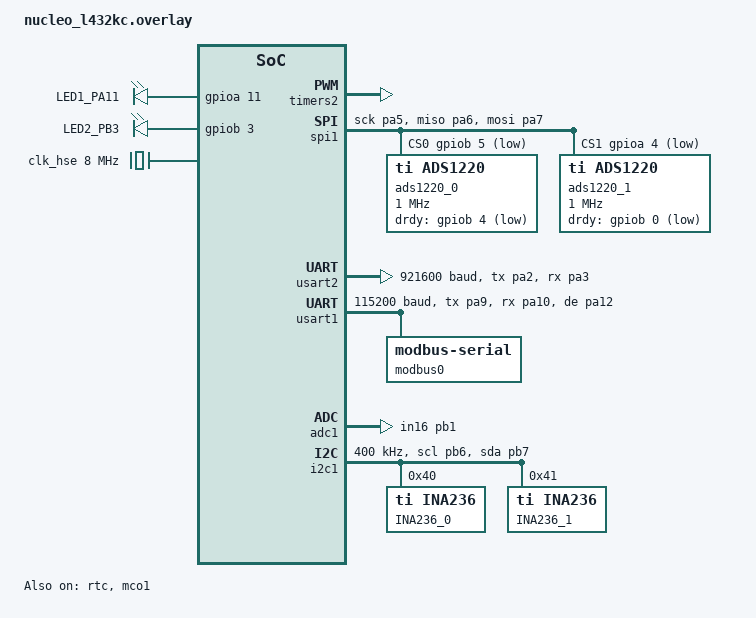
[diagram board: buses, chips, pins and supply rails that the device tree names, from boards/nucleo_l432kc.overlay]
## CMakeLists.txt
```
cmake_minimum_required(VERSION 3.13.1)
find_package(Zephyr REQUIRED HINTS $ENV{ZEPHYR_BASE})

project(pcb LANGUAGES C)

target_sources(app PRIVATE
  src/app_state.c
  src/board.c
  src/control.c
  src/main.c
  src/modbus_server.c
  src/sensors.c
  src/telemetry.c
)

# The code below locates the git index file for this repository and adds it as a dependency for
# the application VERSION file so that if the repo has a new commit added, even if no files in
# the build have changed, the application version file will be regenerated with the new git commit
find_package(Git QUIET)
if(GIT_FOUND)
  execute_process(
    COMMAND ${GIT_EXECUTABLE} rev-parse --absolute-git-dir
    WORKING_DIRECTORY .
    OUTPUT_VARIABLE application_git_dir
    OUTPUT_STRIP_TRAILING_WHITESPACE
    ERROR_STRIP_TRAILING_WHITESPACE
    ERROR_VARIABLE stderr
    RESULT_VARIABLE return_code
  )
  # If there is an error e.g. it is not a git repo, we just silently ignore it and continue
  # without a dependency, this will be the case with freestanding applications.
  if(NOT return_code)
    if(NOT "${stderr}" STREQUAL "")
      message(WARNING "Application build version git rev-parse warned: ${stderr}")
    endif()

    set_property(TARGET app_version_h PROPERTY APP_VERSION_DEPENDS ${application_git_dir}/index)
  endif()
endif()
```

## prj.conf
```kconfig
# Copyright (c) 2021 Nordic Semiconductor ASA
# SPDX-License-Identifier: Apache-2.0

# Core I/O used by src/main.c
CONFIG_GPIO=y
CONFIG_ADC=y
CONFIG_SPI=y
CONFIG_I2C=y
CONFIG_PWM=y
CONFIG_SENSOR=y

# Concrete drivers used by the board overlay
CONFIG_ADC_STM32=y
CONFIG_ADC_ADS1220=y
CONFIG_PWM_STM32=y
CONFIG_INA236=y

# UART is used directly for telemetry, and Modbus owns the RS-485 UART.
CONFIG_SERIAL=y
CONFIG_UART_STM32=y
CONFIG_UART_INTERRUPT_DRIVEN=y
CONFIG_UART_CONSOLE=n
CONFIG_STDOUT_CONSOLE=n
CONFIG_PRINTK=y

# Modbus RTU server on USART1/RS-485.
CONFIG_MODBUS=y
CONFIG_MODBUS_ROLE_SERVER=y

# Float formatting is used by snprintf() telemetry.
CONFIG_NEWLIB_LIBC=y
CONFIG_NEWLIB_LIBC_FLOAT_PRINTF=y

# Application thread stacks
CONFIG_MAIN_STACK_SIZE=4096
CONFIG_ISR_STACK_SIZE=2048
CONFIG_SYSTEM_WORKQUEUE_STACK_SIZE=2048
```

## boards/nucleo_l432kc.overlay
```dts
#include <zephyr/dt-bindings/gpio/gpio.h>
#include <zephyr/dt-bindings/adc/adc.h>
#include <zephyr/dt-bindings/sensor/ina230.h>

/ {
    leds {
        compatible = "gpio-leds";

        led1: led_1 {
            gpios = <&gpioa 11 GPIO_ACTIVE_HIGH>;
            label = "LED1_PA11";
        };

        led2: led_2 {
            gpios = <&gpiob 3 GPIO_ACTIVE_HIGH>;
            label = "LED2_PB3";
        };
    };
};

&timers2 {
    status = "okay";

    pwm2: pwm {
        status = "okay";
        //pinctrl-0 = <&tim2_ch2_pa1 &tim2_ch4_pa3>;
        pinctrl-0 = <&tim2_ch2_pa1 &tim2_ch1_pa15>;
        pinctrl-names = "default";
    };
};

&spi1 {
    status = "okay";

    /* Naudojam default board pinctrl */
    pinctrl-0 = </*&spi1_nss_pa4*/ &spi1_sck_pa5
                 &spi1_miso_pa6 &spi1_mosi_pa7>;
    pinctrl-names = "default";

    /* CS per PA4 */
    cs-gpios = <
        &gpiob 5 GPIO_ACTIVE_LOW /*PT1000*/
        &gpioa 4 GPIO_ACTIVE_LOW /*LM35*/
    >;

    /*ADS1220 PT1000*/
    ads1220_0: ads1220@0 {
        compatible = "ti,ads1220";
        reg = <0>;
        spi-max-frequency = <1000000>;

        /* Atskiras DRDY pinas */
        drdy-gpios = <&gpiob 4 GPIO_ACTIVE_LOW>;
        // pga-bypass;
        data-rate = <0>;
        operating-mode = <0>;

        idac-magnitude-microamp = <250>;
        idac1-routing = <4>;        /* AIN3 */
        idac2-routing = <0>;        /* Disabled */

        #io-channel-cells = <1>;
        #address-cells = <1>;
        #size-cells = <0>;

        channel@0 {
            reg = <0>;

            zephyr,differential;
            zephyr,input-positive = <0>;   /* AIN0 */
            zephyr,input-negative = <1>;   /* AIN1 */

            zephyr,gain = "ADC_GAIN_4";
            zephyr,reference = "ADC_REF_EXTERNAL0";
            zephyr,acquisition-time = <ADC_ACQ_TIME_DEFAULT>;
        };
    };

    /*ADS1220 LM35*/
    ads1220_1: ads1220@1 {
        compatible = "ti,ads1220";
        reg = <1>;
        spi-max-frequency = <1000000>;
        data-rate = <0>;
        /* Atskiras DRDY pinas */
        drdy-gpios = <&gpiob 0 GPIO_ACTIVE_LOW>;
        pga-bypass;

        #io-channel-cells = <1>;
        #address-cells = <1>;
        #size-cells = <0>;

        channel@0 {
            reg = <0>;
            zephyr,gain = "ADC_GAIN_4";
            zephyr,reference = "ADC_REF_INTERNAL";
            zephyr,acquisition-time = <ADC_ACQ_TIME_DEFAULT>;
        };
    };

};

&usart2 {
    current-speed = <921600>;
    pinctrl-0 = <&usart2_tx_pa2 &usart2_rx_pa3>;
};

&usart1 {
    status = "okay";
    current-speed = <115200>;

    pinctrl-0 = <
        &usart1_tx_pa9
        &usart1_rx_pa10
        &usart1_de_pa12
    >;

    de-enable;
    de-assert-time = <1>;
    de-deassert-time = <1>;

    pinctrl-names = "default";

    modbus0 {
        compatible = "zephyr,modbus-serial";
        status = "okay";
    };
};

&adc1 {
    status = "okay";
    st,adc-clock-source = "SYNC";
    st,adc-prescaler = <4>;
    pinctrl-0 = <&adc1_in16_pb1>;
    pinctrl-names = "default";
};

&i2c1 {
    pinctrl-0 = <&i2c1_scl_pb6 &i2c1_sda_pb7>;
    pinctrl-names = "default";
    clock-frequency = <I2C_BITRATE_FAST>;
    status = "okay";

    ina236_0: ina236@40 {
        compatible = "ti,ina236";
        reg = <0x40>;
        label = "INA236_0";

        rshunt-micro-ohms = <15000>;
        current-lsb-microamps = <30>;
        high-precision;
        vshunt-conversion-time-us = <4156>;
        vbus-conversion-time-us = <4156>;
        avg-count = <16>;
    };

    ina236_1: ina236@41 {
        compatible = "ti,ina236";
        reg = <0x41>;
        label = "INA236_1";

        rshunt-micro-ohms = <15000>;
        current-lsb-microamps = <30>;
        high-precision;
        vshunt-conversion-time-us = <4156>;
        vbus-conversion-time-us = <4156>;
        avg-count = <16>;
    };
};




/* NUCLEO-L432KC HSE is provided by ST-LINK MCO as an 8 MHz external clock. */
&clk_hse {
    clock-frequency = <DT_FREQ_M(8)>;
    hse-bypass;
    status = "okay";
};

/* Use the external 32.768 kHz LSE crystal for RTC. */
&clk_lse {
    status = "okay";
    driving-capability = <0>;
};

&clk_hsi {
    status = "disabled";
};

&clk_lsi {
    status = "disabled";
};

&pll {
    div-m = <1>;
    mul-n = <20>;
    div-p = <7>;
    div-q = <2>;
    div-r = <2>;
    clocks = <&clk_hse>;
    status = "okay";
};

&rcc {
    clocks = <&pll>;
    clock-frequency = <DT_FREQ_M(80)>;
    ahb-prescaler = <1>;
    apb1-prescaler = <1>;
    apb2-prescaler = <1>;
};

&rtc {
    clocks = <&rcc STM32_CLOCK(APB1, 28)>,
             <&rcc STM32_SRC_LSE RTC_SEL(1)>;
    status = "okay";
};

&mco1 {
    clocks = <&rcc STM32_SRC_LSE MCO1_SEL(7)>;
    prescaler = <MCO1_PRE(MCO_PRE_DIV_1)>;
    pinctrl-0 = <&rcc_mco_pa8>;
    pinctrl-names = "default";
    status = "okay";
};
```

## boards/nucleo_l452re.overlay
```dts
#include <zephyr/dt-bindings/gpio/gpio.h>
#include <zephyr/dt-bindings/adc/adc.h>

&spi1 {
    status = "okay";
    pinctrl-0 = <&spi1_sck_pa5 &spi1_miso_pa6 &spi1_mosi_pa7>;
    pinctrl-names = "default";

    /* CS ant PC8 */
    cs-gpios = <&gpioc 8 GPIO_ACTIVE_LOW>;

    ads1220: ads1220@0 {
        compatible = "ti,ads1220";
        reg = <0>;
        spi-max-frequency = <1000000>;

        /* Tik jei turi ATSKIRĄ DRDY piną (ne tą patį kaip DOUT) */
        drdy-gpios = <&gpioc 9 GPIO_ACTIVE_LOW>;

        #io-channel-cells = <1>;
        #address-cells = <1>;
        #size-cells = <0>;

        channel@0 {
            reg = <0>;
            zephyr,gain = "ADC_GAIN_1";
            zephyr,reference = "ADC_REF_INTERNAL";
            zephyr,acquisition-time = <ADC_ACQ_TIME_DEFAULT>;
        };
    };
};
```

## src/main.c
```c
#include "app.h"

#include <zephyr/kernel.h>
#include <zephyr/sys/printk.h>

#include <stdio.h>

int main(void)
{
    int modbus_err;

    printk("SYSTEM START\n");

    if (!app_board_init()) {
        return 0;
    }

    k_sleep(K_SECONDS(2));
    app_report_lse_status();

    modbus_err = app_modbus_server_init();
    if (modbus_err != 0) {
        char buf[64];

        snprintf(buf, sizeof(buf), "Modbus RTU init failed: %d\r\n", modbus_err);
        app_serial_send(buf);
        printk("%s", buf);
        return 0;
    }

    app_serial_send("Modbus RTU server ready\r\n");
    app_control_start();
    app_telemetry_start();

    k_sleep(K_FOREVER);
    return 0;
}
```

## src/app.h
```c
#pragma once

#include <zephyr/device.h>
#include <zephyr/devicetree.h>
#include <zephyr/drivers/adc.h>

#include <stdbool.h>
#include <stdint.h>

/* Devicetree nodes */
#define UART_RS485_NODE  DT_NODELABEL(usart1)
#define UART_SERIAL_NODE DT_NODELABEL(usart2)
#define LED1_NODE        DT_NODELABEL(led1)
#define PWM_NODE         DT_NODELABEL(pwm2)
#define MODBUS_NODE      DT_COMPAT_GET_ANY_STATUS_OKAY(zephyr_modbus_serial)

/* Measurement constants */
#define ADS1220_FULL_SCALE 8388607.0f
#define ADS1220_VREF_V     2.048f
#define ADS1220_PT_GAIN    4.0f
#define ADS1220_LM35_GAIN  4.0f
#define RREF_OHM           4990.0f
#define PT1000_R0          1000.0f
#define PT_A               3.9083e-3f
#define PT_B              -5.775e-7f
#define LM35_MV_PER_C      10.0f

#define PT1000_OFFSET_C 0.0f
#define LM35_OFFSET_C   0.0f

/* Control and telemetry */
#define PWM_PERIOD_NS      1000000U
#define PWM_CHANNEL_PT1000 1U
#define PWM_CHANNEL_LM35   2U
#define PWM_MAX_PERCENT    100.0f

#define CONTROL_PERIOD_MS      200
#define TELEMETRY_PERIOD_MS    200
#define LED1_BLINK_MS         1000
#define MIN_CONTROL_DT_S      0.05f
#define MAX_CONTROL_DT_S      1.0f
#define INTEGRAL_ENABLE_ERROR 5.0f
#define LID_CLOSED_THRESHOLD_MV 2200

/* Modbus RTU */
#define MODBUS_UNIT_ID 1
#define MODBUS_BAUD    115200

#define CONTROL_STACK_SIZE   3072
#define TELEMETRY_STACK_SIZE 3072
#define CONTROL_PRIORITY     4
#define TELEMETRY_PRIORITY   7

struct pi_controller {
    float kp;
    float ki;
    float integral;
};

struct temperatures {
    int16_t stm32_raw;
    int32_t pt_raw;
    int32_t lm_raw;
    float stm32_v;
    float pt_c;
    float lm_c;
};

struct power_sample {
    bool ok;
    int32_t voltage_mv;
    int32_t current_ua;
    int32_t power_uw;
};

struct status {
    uint32_t seq;
    int64_t time_ms;
    float dt_s;
    float target_pt;
    float target_lm;
    float pwm_pt;
    float pwm_lm;
    struct temperatures temp;
    struct power_sample power[2];
};

extern const struct device *const app_uart_rs485;
extern const struct device *const app_uart_serial;
extern const struct device *const app_adc_pt1000;
extern const struct device *const app_adc_lm35;
extern const struct device *const app_adc_stm32;
extern const struct device *const app_pwm_dev;
extern const struct device *const app_ina236_0;
extern const struct device *const app_ina236_1;

bool app_board_init(void);
void app_led1_set(bool on);
void app_pwm_set(float pt_percent, float lm_percent);
void app_report_lse_status(void);
bool app_lse_ready(void);
void app_serial_send(const char *str);

struct status app_status_get(void);
void app_status_save_control(const struct status *status);
void app_status_save_power(const struct power_sample power[2]);
void app_targets_get(float *pt, float *lm);
void app_targets_set(float pt, float lm);

void app_read_temperatures(struct temperatures *t, struct adc_sequence *stm32_seq);
struct power_sample app_read_power_sample(const struct device *dev);

int app_modbus_server_init(void);
void app_control_start(void);
void app_telemetry_start(void);
```

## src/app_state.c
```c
#include "app.h"

#include <zephyr/kernel.h>
#include <zephyr/spinlock.h>

static struct status last_status;
static float target_pt = 25.2f;
static float target_lm = 25.0f;
static struct k_spinlock target_lock;

K_MUTEX_DEFINE(status_mutex);

struct status app_status_get(void)
{
    struct status status;

    k_mutex_lock(&status_mutex, K_FOREVER);
    status = last_status;
    k_mutex_unlock(&status_mutex);

    return status;
}

void app_status_save_control(const struct status *status)
{
    struct power_sample power[2];

    k_mutex_lock(&status_mutex, K_FOREVER);
    power[0] = last_status.power[0];
    power[1] = last_status.power[1];
    last_status = *status;
    last_status.power[0] = power[0];
    last_status.power[1] = power[1];
    k_mutex_unlock(&status_mutex);
}

void app_status_save_power(const struct power_sample power[2])
{
    k_mutex_lock(&status_mutex, K_FOREVER);
    last_status.power[0] = power[0];
    last_status.power[1] = power[1];
    k_mutex_unlock(&status_mutex);
}

void app_targets_get(float *pt, float *lm)
{
    k_spinlock_key_t key = k_spin_lock(&target_lock);

    *pt = target_pt;
    *lm = target_lm;

    k_spin_unlock(&target_lock, key);
}

void app_targets_set(float pt, float lm)
{
    k_spinlock_key_t key = k_spin_lock(&target_lock);

    target_pt = pt;
    target_lm = lm;

    k_spin_unlock(&target_lock, key);
}
```

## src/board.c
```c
#include "app.h"

#include <zephyr/devicetree.h>
#include <zephyr/drivers/gpio.h>
#include <zephyr/drivers/pwm.h>
#include <zephyr/drivers/uart.h>
#include <zephyr/sys/printk.h>

#include <stm32_ll_rcc.h>

#include <stdio.h>

const struct device *const app_uart_rs485 = DEVICE_DT_GET(UART_RS485_NODE);
const struct device *const app_uart_serial = DEVICE_DT_GET(UART_SERIAL_NODE);
const struct device *const app_adc_pt1000 = DEVICE_DT_GET(DT_NODELABEL(ads1220_0));
const struct device *const app_adc_lm35 = DEVICE_DT_GET(DT_NODELABEL(ads1220_1));
const struct device *const app_adc_stm32 = DEVICE_DT_GET(DT_NODELABEL(adc1));
const struct device *const app_pwm_dev = DEVICE_DT_GET(PWM_NODE);
const struct device *const app_ina236_0 = DEVICE_DT_GET(DT_NODELABEL(ina236_0));
const struct device *const app_ina236_1 = DEVICE_DT_GET(DT_NODELABEL(ina236_1));

static const struct gpio_dt_spec led1 = GPIO_DT_SPEC_GET(LED1_NODE, gpios);

bool app_board_init(void)
{
    if (!device_is_ready(app_uart_rs485) ||
        !device_is_ready(app_uart_serial) ||
        !device_is_ready(app_adc_pt1000) ||
        !device_is_ready(app_adc_lm35) ||
        !device_is_ready(app_adc_stm32) ||
        !device_is_ready(app_pwm_dev)) {
        printk("Required device not ready\n");
        return false;
    }

    if (!gpio_is_ready_dt(&led1)) {
        printk("LED GPIO not ready\n");
        return false;
    }

    gpio_pin_configure_dt(&led1, GPIO_OUTPUT_INACTIVE);

    if (!device_is_ready(app_ina236_0)) {
        printk("INA236_0 not ready, telemetry will show invalid power 0\n");
    }
    if (!device_is_ready(app_ina236_1)) {
        printk("INA236_1 not ready, telemetry will show invalid power 1\n");
    }

    return true;
}

void app_led1_set(bool on)
{
    gpio_pin_set_dt(&led1, on);
}

void app_pwm_set(float pt_percent, float lm_percent)
{
    uint32_t pt_pulse = (uint32_t)((PWM_PERIOD_NS * pt_percent) / 100.0f);
    uint32_t lm_pulse = (uint32_t)((PWM_PERIOD_NS * lm_percent) / 100.0f);

    pwm_set(app_pwm_dev, PWM_CHANNEL_PT1000, PWM_PERIOD_NS, pt_pulse, 0);
    pwm_set(app_pwm_dev, PWM_CHANNEL_LM35, PWM_PERIOD_NS, lm_pulse, 0);
}

void app_serial_send(const char *str)
{
    while (*str != '\0') {
        uart_poll_out(app_uart_serial, *str++);
    }
}

void app_report_lse_status(void)
{
#if defined(RCC_BDCR_LSEON) && defined(RCC_BDCR_LSERDY)
    char buf[96];
    uint32_t bdcr = RCC->BDCR;

    snprintf(buf, sizeof(buf), "BDCR=0x%08lx LSEON=%d LSERDY=%d\r\n",
             (unsigned long)bdcr,
             (bdcr & RCC_BDCR_LSEON) != 0U,
             (bdcr & RCC_BDCR_LSERDY) != 0U);
    app_serial_send(buf);
    printk("%s", buf);
#endif
}

bool app_lse_ready(void)
{
#if defined(RCC_BDCR_LSERDY)
    return (RCC->BDCR & RCC_BDCR_LSERDY) != 0U;
#else
    return false;
#endif
}
```

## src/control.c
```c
#include "app.h"

#include <zephyr/kernel.h>

#include <math.h>

static struct pi_controller pi_pt = {.kp = 300.0f, .ki = 50.0f};
static struct pi_controller pi_lm = {.kp = 60.0f, .ki = 5.0f};

K_TIMER_DEFINE(control_timer, NULL, NULL);
K_THREAD_STACK_DEFINE(control_stack, CONTROL_STACK_SIZE);

static struct k_thread control_thread_data;

static float clampf(float value, float min, float max)
{
    if (value < min) {
        return min;
    }
    if (value > max) {
        return max;
    }
    return value;
}

static float pi_update(struct pi_controller *pi, float target, float measured,
                       float dt_s)
{
    float error = target - measured;
    float output;
    float new_integral = pi->integral;

    if (fabsf(error) < INTEGRAL_ENABLE_ERROR) {
        new_integral += error * dt_s;
        if (pi->ki > 0.0f) {
            float limit = 100.0f / pi->ki;

            new_integral = clampf(new_integral, -limit, limit);
        }
    }

    output = clampf((pi->kp * error) + (pi->ki * new_integral), 0.0f,
                    PWM_MAX_PERCENT);

    if ((output > 0.0f && output < PWM_MAX_PERCENT) ||
        (output == PWM_MAX_PERCENT && error < 0.0f) ||
        (output == 0.0f && error > 0.0f)) {
        pi->integral = new_integral;
    }

    return output;
}

static float control_dt(int64_t now_ms, int64_t *last_ms)
{
    float dt_s = (float)CONTROL_PERIOD_MS / 1000.0f;

    if (*last_ms != 0) {
        dt_s = (float)(now_ms - *last_ms) / 1000.0f;
        dt_s = clampf(dt_s, MIN_CONTROL_DT_S, MAX_CONTROL_DT_S);
    }

    *last_ms = now_ms;
    return dt_s;
}

static void control_thread(void *arg1, void *arg2, void *arg3)
{
    ARG_UNUSED(arg1);
    ARG_UNUSED(arg2);
    ARG_UNUSED(arg3);

    static uint32_t seq;
    int64_t last_ms = 0;
    struct status s = {0};
    struct adc_sequence stm32_seq = {
        .channels = BIT(16),
        .buffer = &s.temp.stm32_raw,
        .buffer_size = sizeof(s.temp.stm32_raw),
        .resolution = 12,
    };

    while (true) {
        k_timer_status_sync(&control_timer);

        s.seq = seq++;
        s.time_ms = k_uptime_get();
        s.dt_s = control_dt(s.time_ms, &last_ms);
        app_targets_get(&s.target_pt, &s.target_lm);

        app_read_temperatures(&s.temp, &stm32_seq);
        s.pwm_pt = pi_update(&pi_pt, s.target_pt, s.temp.pt_c, s.dt_s);
        s.pwm_lm = pi_update(&pi_lm, s.target_lm, s.temp.lm_c, s.dt_s);

        app_pwm_set(s.pwm_pt, s.pwm_lm);
        app_status_save_control(&s);
    }
}

void app_control_start(void)
{
    k_timer_start(&control_timer, K_NO_WAIT, K_MSEC(CONTROL_PERIOD_MS));
    k_thread_create(&control_thread_data, control_stack,
                    K_THREAD_STACK_SIZEOF(control_stack), control_thread,
                    NULL, NULL, NULL, CONTROL_PRIORITY, 0, K_NO_WAIT);
}
```

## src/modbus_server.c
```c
#include "app.h"

#include <zephyr/drivers/uart.h>
#include <zephyr/modbus/modbus.h>
#include <zephyr/sys/printk.h>

#include <errno.h>

static uint16_t u32_reg(uint32_t value, uint16_t word)
{
    return (uint16_t)(value >> (word * 16U));
}

static uint16_t i32_reg(int32_t value, uint16_t word)
{
    return u32_reg((uint32_t)value, word);
}

static uint16_t f_to_s16_reg(float value, float scale)
{
    return (uint16_t)(int16_t)(value * scale);
}

static bool lid_closed_from_mv(int32_t mv)
{
    return mv >= LID_CLOSED_THRESHOLD_MV;
}

static int discrete_input_rd(uint16_t addr, bool *state)
{
    struct status s = app_status_get();
    int32_t lid_mv = (int32_t)(s.temp.stm32_v * 1000.0f);

    switch (addr) {
    case 0:
        *state = lid_closed_from_mv(lid_mv);
        return 0;
    case 1:
        *state = s.power[0].ok;
        return 0;
    case 2:
        *state = s.power[1].ok;
        return 0;
    case 3:
        *state = app_lse_ready();
        return 0;
    default:
        return -ENOTSUP;
    }
}

static int input_reg_rd(uint16_t addr, uint16_t *reg)
{
    struct status s = app_status_get();
    int32_t stm32_mv = (int32_t)(s.temp.stm32_v * 1000.0f);

    switch (addr) {
    case 0:
        *reg = 1U;
        return 0;
    case 1:
        *reg = u32_reg(s.seq, 0);
        return 0;
    case 2:
        *reg = u32_reg(s.seq, 1);
        return 0;
    case 3:
        *reg = u32_reg((uint32_t)s.time_ms, 0);
        return 0;
    case 4:
        *reg = u32_reg((uint32_t)s.time_ms, 1);
        return 0;
    case 10:
        *reg = f_to_s16_reg(s.temp.pt_c, 100.0f);
        return 0;
    case 11:
        *reg = f_to_s16_reg(s.temp.lm_c, 100.0f);
        return 0;
    case 12:
        *reg = (uint16_t)(int16_t)stm32_mv;
        return 0;
    case 13:
        *reg = i32_reg(s.temp.pt_raw, 0);
        return 0;
    case 14:
        *reg = i32_reg(s.temp.pt_raw, 1);
        return 0;
    case 15:
        *reg = i32_reg(s.temp.lm_raw, 0);
        return 0;
    case 16:
        *reg = i32_reg(s.temp.lm_raw, 1);
        return 0;
    case 20:
        *reg = f_to_s16_reg(s.pwm_pt, 10.0f);
        return 0;
    case 21:
        *reg = f_to_s16_reg(s.pwm_lm, 10.0f);
        return 0;
    case 22:
        *reg = f_to_s16_reg(s.target_pt, 100.0f);
        return 0;
    case 23:
        *reg = f_to_s16_reg(s.target_lm, 100.0f);
        return 0;
    case 30:
    case 31:
        *reg = i32_reg(s.power[0].voltage_mv, addr - 30);
        return 0;
    case 32:
    case 33:
        *reg = i32_reg(s.power[0].current_ua, addr - 32);
        return 0;
    case 34:
    case 35:
        *reg = i32_reg(s.power[0].power_uw, addr - 34);
        return 0;
    case 40:
    case 41:
        *reg = i32_reg(s.power[1].voltage_mv, addr - 40);
        return 0;
    case 42:
    case 43:
        *reg = i32_reg(s.power[1].current_ua, addr - 42);
        return 0;
    case 44:
    case 45:
        *reg = i32_reg(s.power[1].power_uw, addr - 44);
        return 0;
    default:
        return -ENOTSUP;
    }
}

static int holding_reg_rd(uint16_t addr, uint16_t *reg)
{
    float pt;
    float lm;

    app_targets_get(&pt, &lm);

    switch (addr) {
    case 0:
        *reg = f_to_s16_reg(pt, 100.0f);
        return 0;
    case 1:
        *reg = f_to_s16_reg(lm, 100.0f);
        return 0;
    default:
        return -ENOTSUP;
    }
}

static int holding_reg_wr(uint16_t addr, uint16_t reg)
{
    float pt;
    float lm;
    float value = (float)(int16_t)reg / 100.0f;

    app_targets_get(&pt, &lm);

    switch (addr) {
    case 0:
        app_targets_set(value, lm);
        return 0;
    case 1:
        app_targets_set(pt, value);
        return 0;
    default:
        return -ENOTSUP;
    }
}

static struct modbus_user_callbacks mbs_cbs = {
    .discrete_input_rd = discrete_input_rd,
    .input_reg_rd = input_reg_rd,
    .holding_reg_rd = holding_reg_rd,
    .holding_reg_wr = holding_reg_wr,
};

static const struct modbus_iface_param server_param = {
    .mode = MODBUS_MODE_RTU,
    .server = {
        .user_cb = &mbs_cbs,
        .unit_id = MODBUS_UNIT_ID,
    },
    .serial = {
        .baud = MODBUS_BAUD,
        .parity = UART_CFG_PARITY_NONE,
    },
};

int app_modbus_server_init(void)
{
    const char iface_name[] = DEVICE_DT_NAME(MODBUS_NODE);
    const struct uart_config rs485_cfg = {
        .baudrate = MODBUS_BAUD,
        .parity = UART_CFG_PARITY_NONE,
        .stop_bits = UART_CFG_STOP_BITS_2,
        .data_bits = UART_CFG_DATA_BITS_8,
        .flow_ctrl = UART_CFG_FLOW_CTRL_RS485,
    };
    int iface = modbus_iface_get_by_name(iface_name);
    int err;

    if (iface < 0) {
        printk("Failed to get Modbus iface %s: %d\n", iface_name, iface);
        return iface;
    }

    err = modbus_init_server(iface, server_param);
    if (err != 0) {
        return err;
    }

    /* Zephyr Modbus reconfigures UART flow control. Restore STM32 hardware DE
     * mode so PA12 drives the RS-485 transceiver direction automatically.
     */
    return uart_configure(app_uart_rs485, &rs485_cfg);
}
```

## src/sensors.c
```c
#include "app.h"

#include <zephyr/drivers/adc.h>
#include <zephyr/drivers/sensor.h>

#include <math.h>

int ads1220_trigger(const struct device *dev);
int ads1220_fetch(const struct device *dev, int32_t *value);

static float pt1000_compensate(float t)
{
    float err = (-0.00003f * t * t) + (-0.0041f * t) + 0.3738f;

    return t - err;
}

static float lm35_compensate(float t)
{
    float err = (0.0002f * t * t) - (0.0327f * t) + 0.124f;

    return t - err;
}

static float pt1000_temp_c(int32_t raw)
{
    float r_rtd = (fabsf((float)raw) * RREF_OHM / ADS1220_PT_GAIN) /
                  ADS1220_FULL_SCALE;
    float ratio = r_rtd / PT1000_R0;
    float d = PT_A * PT_A - 4.0f * PT_B * (1.0f - ratio);

    if (d < 0.0f) {
        d = 0.0f;
    }

    return ((-PT_A + sqrtf(d)) / (2.0f * PT_B)) - PT1000_OFFSET_C;
}

static float lm35_temp_c(int32_t raw)
{
    float vin = ((float)raw / ADS1220_FULL_SCALE) *
                (ADS1220_VREF_V / ADS1220_LM35_GAIN);

    return ((vin * 1000.0f) / LM35_MV_PER_C) - LM35_OFFSET_C;
}

void app_read_temperatures(struct temperatures *t, struct adc_sequence *stm32_seq)
{
    t->stm32_v = 0.0f;
    if (adc_read(app_adc_stm32, stm32_seq) == 0) {
        t->stm32_v = ((float)t->stm32_raw * 3.3f) / 4095.0f;
    }

    ads1220_trigger(app_adc_pt1000);
    ads1220_trigger(app_adc_lm35);
    ads1220_fetch(app_adc_pt1000, &t->pt_raw);
    ads1220_fetch(app_adc_lm35, &t->lm_raw);

    t->pt_c = pt1000_compensate(pt1000_temp_c(t->pt_raw));
    t->lm_c = lm35_compensate(lm35_temp_c(t->lm_raw));
}

static bool read_power(const struct device *dev, struct sensor_value *voltage,
                       struct sensor_value *current, struct sensor_value *power)
{
    return device_is_ready(dev) &&
           sensor_sample_fetch(dev) == 0 &&
           sensor_channel_get(dev, SENSOR_CHAN_VOLTAGE, voltage) == 0 &&
           sensor_channel_get(dev, SENSOR_CHAN_CURRENT, current) == 0 &&
           sensor_channel_get(dev, SENSOR_CHAN_POWER, power) == 0;
}

struct power_sample app_read_power_sample(const struct device *dev)
{
    struct sensor_value voltage;
    struct sensor_value current;
    struct sensor_value power;
    struct power_sample sample = {0};

    sample.ok = read_power(dev, &voltage, &current, &power);
    if (sample.ok) {
        sample.voltage_mv = (int32_t)(sensor_value_to_double(&voltage) * 1000.0);
        sample.current_ua = (int32_t)(sensor_value_to_double(&current) * 1000000.0);
        sample.power_uw = (int32_t)(sensor_value_to_double(&power) * 1000000.0);
    }

    return sample;
}
```

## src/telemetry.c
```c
#include "app.h"

#include <zephyr/kernel.h>

#include <math.h>
#include <stdio.h>

K_TIMER_DEFINE(telemetry_timer, NULL, NULL);
K_THREAD_STACK_DEFINE(telemetry_stack, TELEMETRY_STACK_SIZE);

static struct k_thread telemetry_thread_data;

static void log_telemetry(const struct status *s)
{
    char buf[320];

    snprintf(buf, sizeof(buf),
             "TEL,%lu,%lld,%.3f,%.3f,%.3f,%.2f,%.2f,%.1f,%.1f,%d,%d,%d,%d,%.3f,%.6f,%.6f,%d,%.3f,%.6f,%.6f\r\n",
             (unsigned long)s->seq,
             s->time_ms,
             s->dt_s,
             s->temp.pt_c,
             s->temp.lm_c,
             s->target_pt,
             s->target_lm,
             s->pwm_pt,
             s->pwm_lm,
             s->temp.pt_raw,
             s->temp.lm_raw,
             s->temp.stm32_raw,
             s->power[0].ok ? 1 : 0,
             s->power[0].ok ? (double)s->power[0].voltage_mv / 1000.0 : NAN,
             s->power[0].ok ? (double)s->power[0].current_ua / 1000000.0 : NAN,
             s->power[0].ok ? (double)s->power[0].power_uw / 1000000.0 : NAN,
             s->power[1].ok ? 1 : 0,
             s->power[1].ok ? (double)s->power[1].voltage_mv / 1000.0 : NAN,
             s->power[1].ok ? (double)s->power[1].current_ua / 1000000.0 : NAN,
             s->power[1].ok ? (double)s->power[1].power_uw / 1000000.0 : NAN);

    app_serial_send(buf);
}

static void telemetry_thread(void *arg1, void *arg2, void *arg3)
{
    ARG_UNUSED(arg1);
    ARG_UNUSED(arg2);
    ARG_UNUSED(arg3);

    bool led1_on = false;
    int64_t last_led1_ms = 0;

    while (true) {
        int64_t now_ms;
        struct status s;
        struct power_sample power[2];

        k_timer_status_sync(&telemetry_timer);

        now_ms = k_uptime_get();
        power[0] = app_read_power_sample(app_ina236_0);
        power[1] = app_read_power_sample(app_ina236_1);
        app_status_save_power(power);

        s = app_status_get();
        log_telemetry(&s);

        if ((now_ms - last_led1_ms) >= LED1_BLINK_MS) {
            led1_on = !led1_on;
            app_led1_set(led1_on);
            last_led1_ms = now_ms;
        }
    }
}

void app_telemetry_start(void)
{
    k_timer_start(&telemetry_timer, K_NO_WAIT, K_MSEC(TELEMETRY_PERIOD_MS));
    k_thread_create(&telemetry_thread_data, telemetry_stack,
                    K_THREAD_STACK_SIZEOF(telemetry_stack), telemetry_thread,
                    NULL, NULL, NULL, TELEMETRY_PRIORITY, 0, K_NO_WAIT);
}
```
